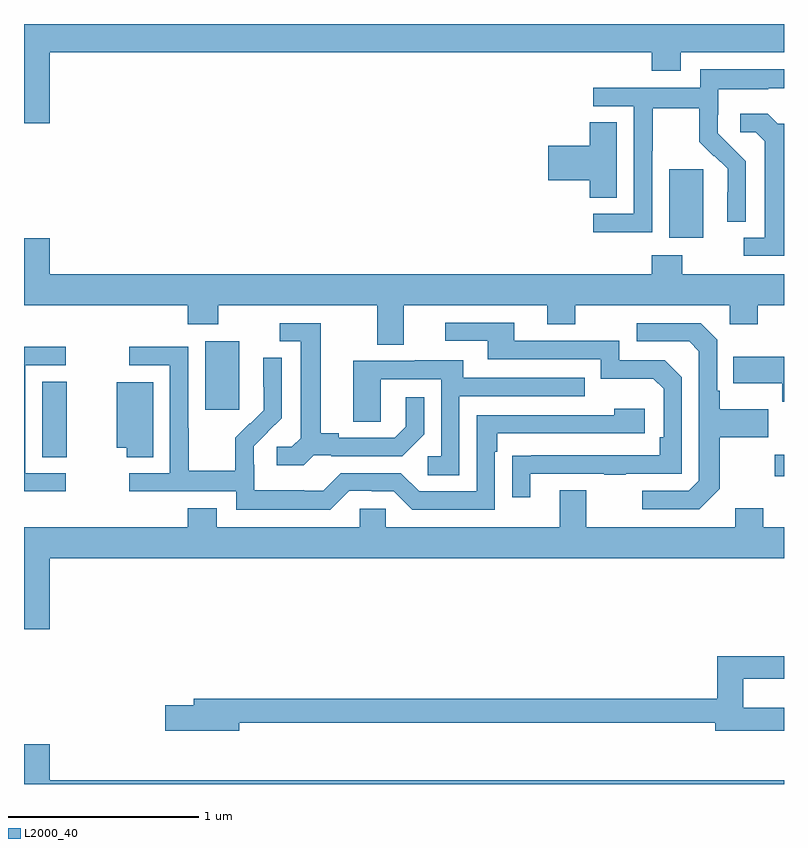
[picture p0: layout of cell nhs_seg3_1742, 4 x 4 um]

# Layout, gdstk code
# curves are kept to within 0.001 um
import gdstk
lib = gdstk.Library(unit=1e-6, precision=1e-09)
def R(c, l, rs):  # rectangles x0, y0, x1, y1
    for r in rs: c.add(gdstk.rectangle(r[:2], r[2:], *l))
def P(c, l, *ps):  # polygons
    for p in ps: c.add(gdstk.Polygon(p, *l))
L2000_40 = (2000, 40)

nhs_seg3_1742 = lib.new_cell('nhs_seg3_1742')
R(nhs_seg3_1742, L2000_40, [(204.951,696.021,205,696.134), (201.095,696.121,201.226,696.518), (201.953,696.369,202.132,696.73), (204.395,697.274,204.574,697.635)])
P(nhs_seg3_1742, L2000_40, [(201.136,698.252),(204.305,698.252),(204.305,698.153),(204.457,698.153),(204.457,698.252),(205,698.252),(205,698.4),(201,698.4),(201,697.878),(201.136,697.878)],
  [(204.306,697.732),(204.309,697.732),(204.309,697.956),(204.553,697.956),(204.553,697.781),(204.63,697.704),(204.633,697.707),(204.704,697.637),(204.704,697.514),(204.702,697.514),(204.702,697.36),(204.798,697.36),(204.798,697.678),(204.652,697.826),(204.652,697.923),(204.654,697.923),(204.654,698.057),(204.917,698.057),(204.917,698.061),(205,698.061),(205,698.161),(204.558,698.161),(204.558,698.064),(203.997,698.064),(203.997,697.968),(204.21,697.968),(204.21,697.401),(203.997,697.401),(203.997,697.303),(204.306,697.303)],
  [(205,697.875),(204.966,697.875),(204.914,697.927),(204.771,697.927),(204.771,697.83),(204.852,697.83),(204.899,697.783),(204.899,697.275),(204.789,697.275),(204.789,697.179),(205,697.179)],
  [(204.121,697.883),(203.978,697.883),(203.978,697.76),(203.76,697.76),(203.76,697.577),(203.978,697.577),(203.978,697.486),(204.121,697.486)],
  [(202.999,696.92),(203.753,696.92),(203.753,696.821),(203.901,696.821),(203.901,696.92),(204.714,696.92),(204.714,696.821),(204.861,696.821),(204.861,696.92),(205,696.92),(205,697.084),(204.465,697.084),(204.465,697.183),(204.305,697.183),(204.305,697.084),(201.136,697.084),(201.136,697.273),(201,697.273),(201,696.92),(201.863,696.92),(201.863,696.821),(202.023,696.821),(202.023,696.92),(202.859,696.92),(202.859,696.712),(202.999,696.712)],
  [(203.665,696.033),(204.055,696.033),(204.055,696.028),(204.167,696.028),(204.167,696.033),(204.462,696.033),(204.462,696.54),(204.372,696.63),(204.132,696.63),(204.132,696.732),(203.581,696.732),(203.581,696.828),(203.217,696.828),(203.217,696.732),(203.441,696.732),(203.441,696.636),(204.036,696.636),(204.036,696.533),(204.313,696.533),(204.366,696.48),(204.366,696.226),(204.346,696.226),(204.346,696.129),(203.569,696.128),(203.569,695.91),(203.665,695.91)],
  [(202.524,696.129),(202.618,696.129),(202.618,696.126),(202.99,696.126),(203.106,696.242),(203.106,696.436),(203.009,696.436),(203.009,696.279),(202.952,696.222),(202.657,696.222),(202.657,696.245),(202.561,696.245),(202.561,696.825),(202.347,696.825),(202.347,696.729),(202.457,696.729),(202.457,696.221),(202.41,696.174),(202.329,696.174),(202.329,696.077),(202.472,696.077)],
  [(204.661,695.953),(204.661,696.226),(204.917,696.226),(204.917,696.373),(204.661,696.373),(204.661,696.469),(204.648,696.469),(204.648,696.738),(204.561,696.825),(204.225,696.825),(204.225,696.729),(204.501,696.729),(204.552,696.678),(204.552,695.997),(204.498,695.943),(204.255,695.943),(204.255,695.847),(204.555,695.847)],
  [(201.22,696.036),(201.006,696.036),(201.006,696.603),(201.22,696.603),(201.22,696.702),(201,696.702),(201,695.94),(201.22,695.94)],
  [(202.713,695.943),(202.829,695.943),(202.829,695.94),(202.947,695.94),(203.043,695.844),(203.478,695.844),(203.478,696.149),(203.491,696.149),(203.491,696.246),(204.268,696.246),(204.268,696.376),(204.107,696.376),(204.107,696.342),(203.382,696.342),(203.382,695.94),(203.079,695.94),(202.983,696.036),(202.668,696.036),(202.575,695.943),(202.475,695.943),(202.475,695.947),(202.212,695.947),(202.212,696.081),(202.21,696.081),(202.21,696.178),(202.356,696.326),(202.356,696.644),(202.26,696.644),(202.26,696.49),(202.262,696.49),(202.262,696.368),(202.191,696.297),(202.188,696.3),(202.111,696.223),(202.111,696.049),(201.867,696.049),(201.867,696.272),(201.864,696.272),(201.864,696.702),(201.555,696.702),(201.555,696.603),(201.768,696.603),(201.768,696.036),(201.555,696.036),(201.555,695.94),(202.116,695.94),(202.116,695.843),(202.613,695.843)],
  [(205,696.649),(204.733,696.649),(204.733,696.509),(204.99,696.509),(204.99,696.413),(205,696.413)],
  [(203.292,696.441),(203.951,696.441),(203.951,696.537),(203.311,696.537),(203.311,696.631),(203.057,696.631),(203.057,696.627),(202.733,696.627),(202.733,696.307),(202.878,696.307),(202.878,696.531),(203.196,696.531),(203.196,696.126),(203.124,696.126),(203.124,696.025),(203.292,696.025)],
  [(201.679,696.514),(201.488,696.514),(201.488,696.17),(201.541,696.17),(201.541,696.121),(201.679,696.121)],
  [(201.136,695.588),(205,695.588),(205,695.752),(204.891,695.752),(204.891,695.851),(204.743,695.851),(204.743,695.752),(203.959,695.752),(203.959,695.947),(203.819,695.947),(203.819,695.752),(202.905,695.752),(202.905,695.85),(202.767,695.85),(202.767,695.752),(202.015,695.752),(202.015,695.851),(201.863,695.851),(201.863,695.752),(201,695.752),(201,695.214),(201.136,695.214)],
  [(202.132,694.722),(204.638,694.722),(204.638,694.679),(205,694.679),(205,694.801),(204.785,694.801),(204.785,694.955),(205,694.955),(205,695.072),(204.649,695.072),(204.649,694.85),(201.893,694.85),(201.893,694.814),(201.744,694.814),(201.744,694.679),(202.132,694.679)],
  [(205,694.42),(201.136,694.42),(201.136,694.609),(201,694.609),(201,694.4),(205,694.4)])

lib.write_gds('nhs_seg3_1742.gds')
